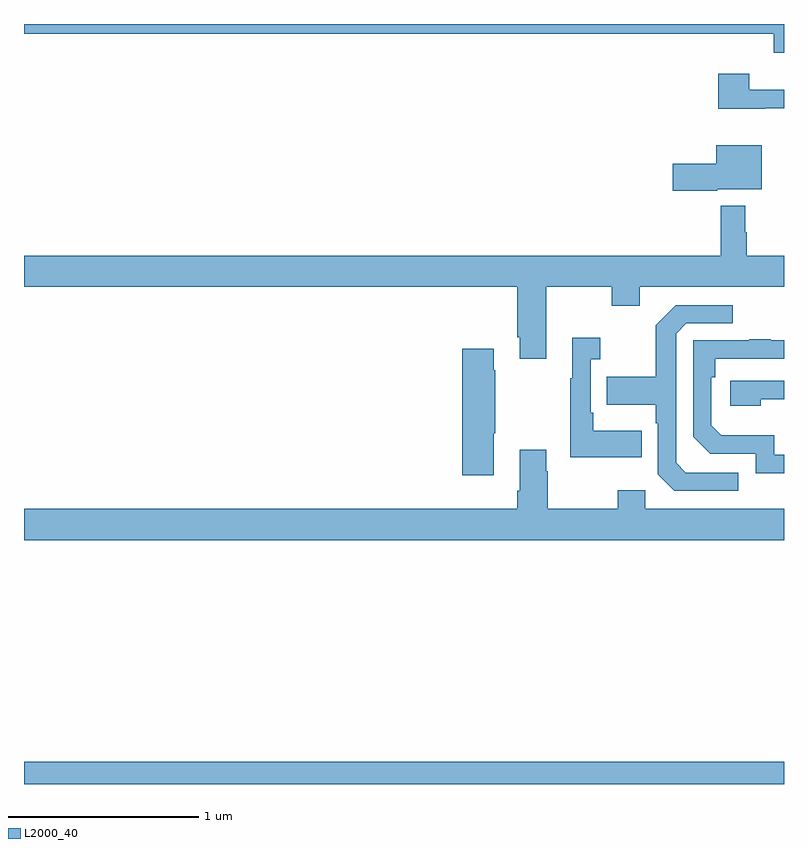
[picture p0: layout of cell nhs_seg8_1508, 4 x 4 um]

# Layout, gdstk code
import gdstk
lib = gdstk.Library(unit=1e-6, precision=1e-09)
def R(c, l, rs):  # rectangles x0, y0, x1, y1
    for r in rs: c.add(gdstk.rectangle(r[:2], r[2:], *l))
def P(c, l, *ps):  # polygons
    for p in ps: c.add(gdstk.Polygon(p, *l))
L2000_40 = (2000, 40)

nhs_seg8_1508 = lib.new_cell('nhs_seg8_1508')
R(nhs_seg8_1508, L2000_40, [(207,1097.9,211,1098.016)])
P(nhs_seg8_1508, L2000_40, [(207,1101.848),(210.947,1101.848),(210.947,1101.749),(211,1101.749),(211,1101.9),(207,1101.9)],
  [(210.901,1101.456),(211,1101.456),(211,1101.554),(210.818,1101.554),(210.818,1101.637),(210.653,1101.637),(210.653,1101.455),(210.901,1101.455)],
  [(210.648,1101.029),(210.883,1101.029),(210.883,1101.262),(210.644,1101.262),(210.644,1101.164),(210.414,1101.164),(210.414,1101.022),(210.648,1101.022)],
  [(207,1100.516),(209.597,1100.516),(209.597,1100.251),(209.609,1100.251),(209.609,1100.139),(209.749,1100.139),(209.749,1100.516),(210.094,1100.516),(210.094,1100.417),(210.241,1100.417),(210.241,1100.516),(211,1100.516),(211,1100.68),(210.803,1100.68),(210.803,1100.804),(210.796,1100.804),(210.796,1100.944),(210.668,1100.944),(210.668,1100.68),(207,1100.68)],
  [(210.76,1099.539),(210.483,1099.539),(210.432,1099.59),(210.432,1100.271),(210.486,1100.325),(210.73,1100.325),(210.73,1100.421),(210.429,1100.421),(210.324,1100.315),(210.324,1100.043),(210.067,1100.043),(210.067,1099.895),(210.324,1099.895),(210.324,1099.799),(210.336,1099.799),(210.336,1099.53),(210.423,1099.443),(210.76,1099.443)],
  [(210.251,1099.759),(209.995,1099.759),(209.995,1099.855),(209.982,1099.855),(209.982,1100.135),(210.034,1100.135),(210.034,1100.248),(209.885,1100.248),(209.885,1100.035),(209.874,1100.035),(209.874,1099.619),(210.251,1099.619)],
  [(211,1099.632),(210.948,1099.632),(210.948,1099.735),(210.671,1099.735),(210.618,1099.788),(210.618,1100.042),(210.638,1100.042),(210.638,1100.139),(211,1100.139),(211,1100.235),(210.929,1100.235),(210.929,1100.24),(210.817,1100.24),(210.817,1100.235),(210.522,1100.235),(210.522,1099.728),(210.612,1099.638),(210.852,1099.638),(210.852,1099.536),(211,1099.536)],
  [(209.473,1099.747),(209.481,1099.747),(209.481,1100.078),(209.473,1100.078),(209.473,1100.191),(209.306,1100.191),(209.306,1099.524),(209.473,1099.524)],
  [(210.878,1099.926),(211,1099.926),(211,1100.022),(210.717,1100.022),(210.717,1099.892),(210.878,1099.892)],
  [(211,1099.348),(210.27,1099.348),(210.27,1099.447),(210.124,1099.447),(210.124,1099.348),(209.757,1099.348),(209.757,1099.547),(209.749,1099.547),(209.749,1099.66),(209.609,1099.66),(209.609,1099.444),(209.597,1099.444),(209.597,1099.348),(207,1099.348),(207,1099.184),(211,1099.184)])

lib.write_gds('nhs_seg8_1508.gds')
